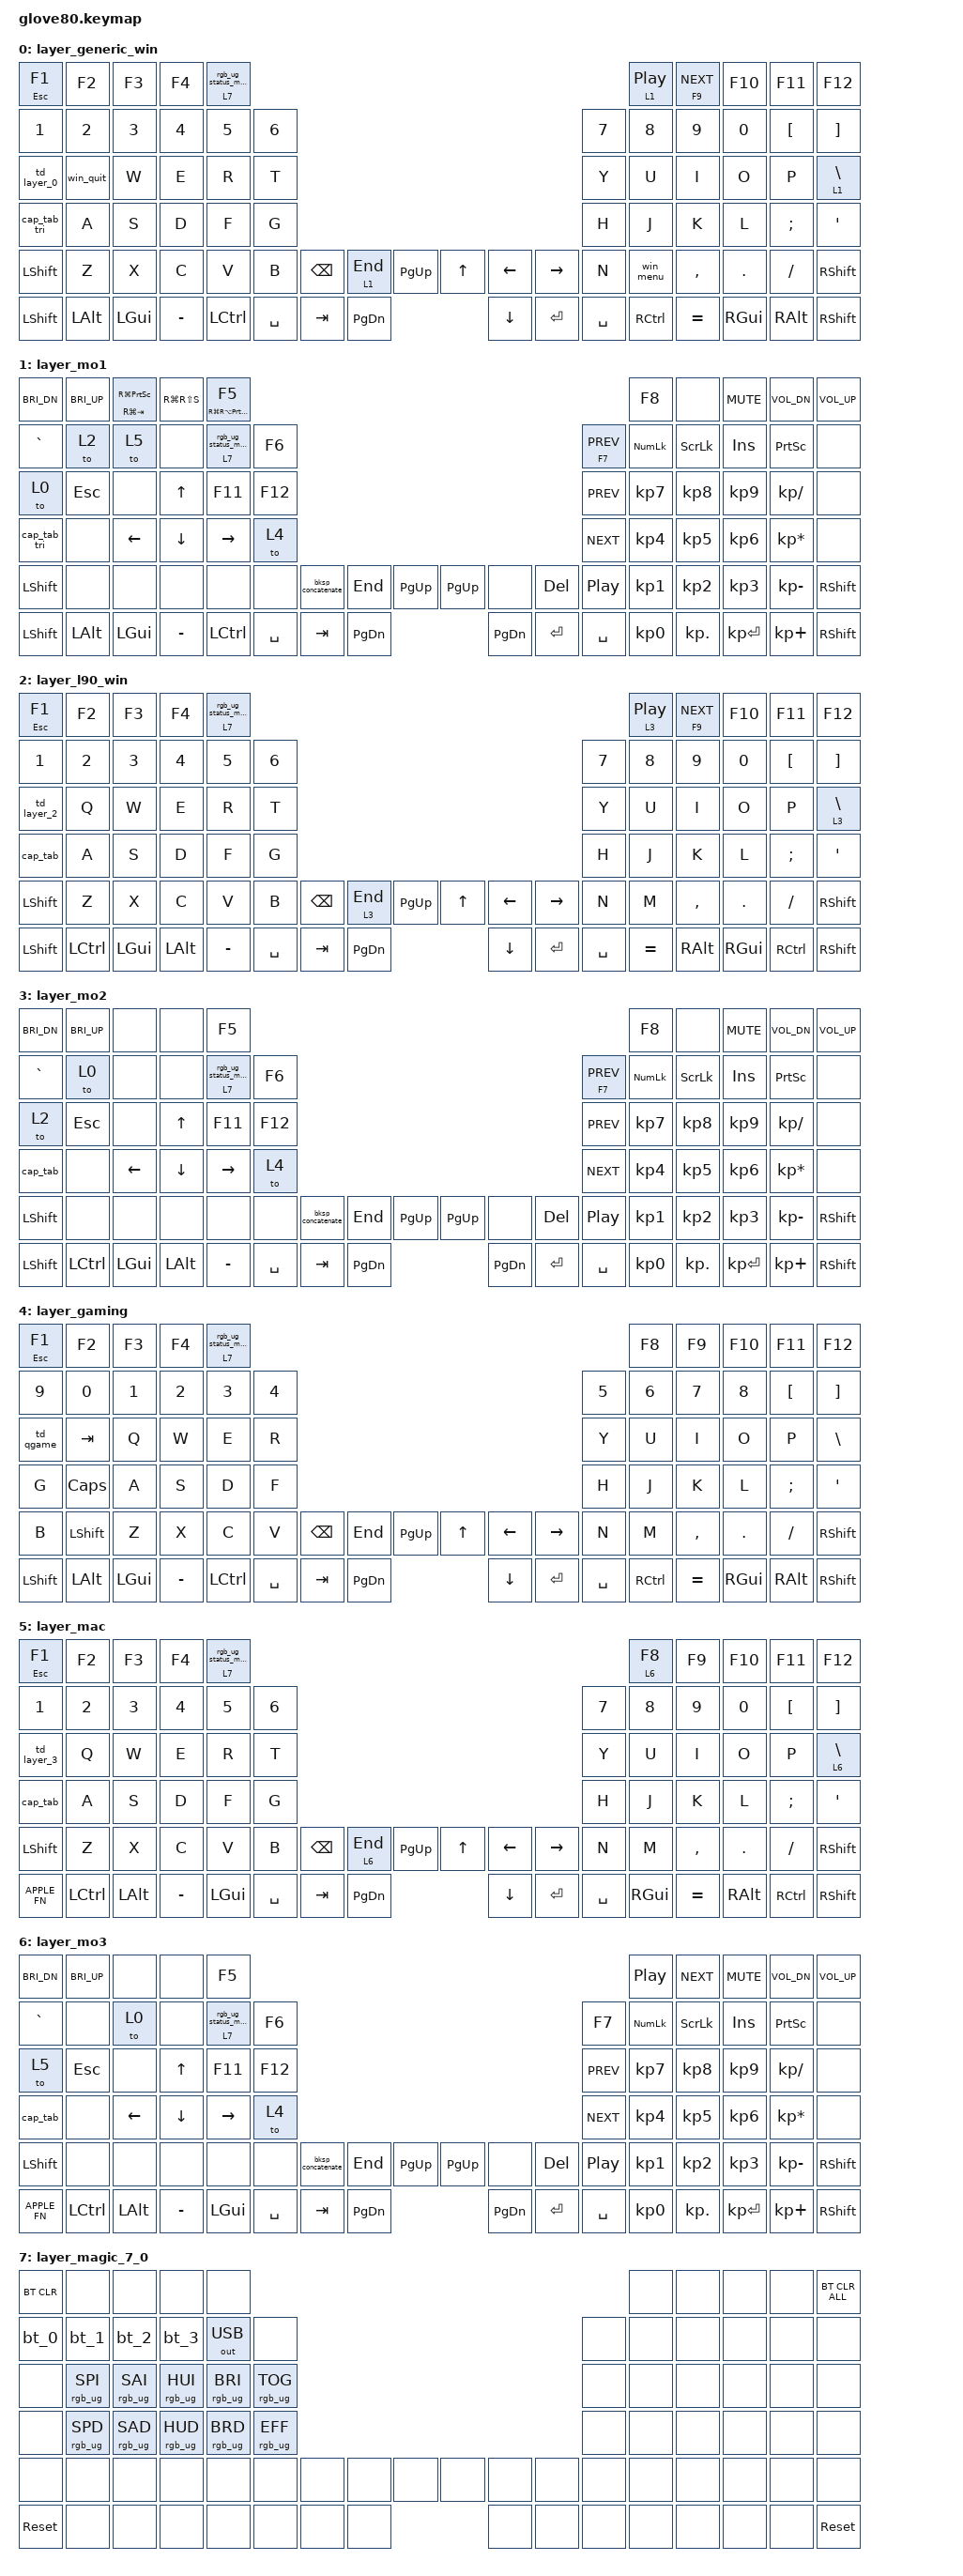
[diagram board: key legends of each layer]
/*
 * Copyright (c) 2020 The ZMK Contributors
 *
 * SPDX-License-Identifier: MIT
 */

#include <behaviors.dtsi>
#include <dt-bindings/zmk/keys.h>
#include <dt-bindings/zmk/bt.h>
#include <dt-bindings/zmk/ext_power.h>
#include <dt-bindings/zmk/outputs.h>
#include <dt-bindings/zmk/rgb.h>

#define HYPER LC(LS(LG(LALT)))

// layers
#define DEFAULT 0
#define LOWER 1
#define MAGIC 2
#define FACTORY_TEST 3

/ {
    behaviors {
        // For the "layer" key, it'd nice to be able to use it as either a shift or a toggle.
        // Configure it as a tap dance, so the first tap (or hold) is a &mo and the second tap is a &to
        layer_td: tap_dance_0 {
            compatible = "zmk,behavior-tap-dance";
            label = "LAYER_TAP_DANCE";
            #binding-cells = <0>;
            tapping-term-ms = <200>;
            bindings = <&mo 1>, <&to 1>;
        };
    };
};

/ {
    macros {
        rgb_ug_status_macro: rgb_ug_status_macro_0 {
            label = "RGB_UG_STATUS";
            compatible = "zmk,behavior-macro";
            #binding-cells = <0>;
            bindings
                = <&rgb_ug RGB_STATUS>;
        };
    };
};

/ {
#ifdef BT_DISC_CMD
    behaviors {
        bt_0: bt_0 {
            compatible = "zmk,behavior-tap-dance";
            label = "BT_0";
            #binding-cells = <0>;
            tapping-term-ms = <200>;
            bindings = <&bt_select_0>, <&bt BT_DISC 0>;
        };
        bt_1: bt_1 {
            compatible = "zmk,behavior-tap-dance";
            label = "BT_1";
            #binding-cells = <0>;
            tapping-term-ms = <200>;
            bindings = <&bt_select_1>, <&bt BT_DISC 1>;
        };
        bt_2: bt_2 {
            compatible = "zmk,behavior-tap-dance";
            label = "BT_2";
            #binding-cells = <0>;
            tapping-term-ms = <200>;
            bindings = <&bt_select_2>, <&bt BT_DISC 2>;
        };
        bt_3: bt_3 {
            compatible = "zmk,behavior-tap-dance";
            label = "BT_3";
            #binding-cells = <0>;
            tapping-term-ms = <200>;
            bindings = <&bt_select_3>, <&bt BT_DISC 3>;
        };
    };
    macros {
        bt_select_0: bt_select_0 {
            label = "BT_SELECT_0";
            compatible = "zmk,behavior-macro";
            #binding-cells = <0>;
            bindings
                = <&out OUT_BLE>,
                  <&bt BT_SEL 0>;
        };
        bt_select_1: bt_select_1 {
            label = "BT_SELECT_1";
            compatible = "zmk,behavior-macro";
            #binding-cells = <0>;
            bindings
                = <&out OUT_BLE>,
                  <&bt BT_SEL 1>;
        };
        bt_select_2: bt_select_2 {
            label = "BT_SELECT_2";
            compatible = "zmk,behavior-macro";
            #binding-cells = <0>;
            bindings
                = <&out OUT_BLE>,
                  <&bt BT_SEL 2>;
        };
        bt_select_3: bt_select_3 {
            label = "BT_SELECT_3";
            compatible = "zmk,behavior-macro";
            #binding-cells = <0>;
            bindings
                = <&out OUT_BLE>,
                  <&bt BT_SEL 3>;
        };
    };
	#else
    macros {
        bt_0: bt_0 {
            label = "BT_0";
            compatible = "zmk,behavior-macro";
            #binding-cells = <0>;
            bindings
                = <&out OUT_BLE>,
                  <&bt BT_SEL 0>;
        };
        bt_1: bt_1 {
            label = "BT_1";
            compatible = "zmk,behavior-macro";
            #binding-cells = <0>;
            bindings
                = <&out OUT_BLE>,
                  <&bt BT_SEL 1>;
        };
        bt_2: bt_2 {
            label = "BT_2";
            compatible = "zmk,behavior-macro";
            #binding-cells = <0>;
            bindings
                = <&out OUT_BLE>,
                  <&bt BT_SEL 2>;
        };
        bt_3: bt_3 {
            label = "BT_3";
            compatible = "zmk,behavior-macro";
            #binding-cells = <0>;
            bindings
                = <&out OUT_BLE>,
                  <&bt BT_SEL 3>;
        };
    };
#endif
};

/ {
    magic: magic_hold_tap {
        compatible = "zmk,behavior-hold-tap";
        label = "MAGIC_HOLD_TAP";
        #binding-cells = <2>;
        flavor = "tap-preferred";
        tapping-term-ms = <200>;
        bindings = <&mo>, <&rgb_ug_status_macro>;
    };
};

    /* Custom Defined Behaviors */
/ {
    combos {
        compatible = "zmk,combos";
        combo_shiftl {
            timeout-ms = <50>;
            key-positions = <46 64>;
            bindings = <&kp LSHIFT>;
        };
        combo_shiftr {
            timeout-ms = <50>;
            key-positions = <63 79>;
            bindings = <&kp RSHIFT>;
        };
		combo_home {
            timeout-ms = <15>;
            key-positions = <52 53>;
            bindings = <&kp HOME>;
        };
		combo_delete {
            timeout-ms = <15>;
            key-positions = <56 57>;
            bindings = <&kp DEL>;
        };
        combo_grave {
            timeout-ms = <15>;
            key-positions = <10 22>;
            bindings = <&kp RET>;
        };
    };
    
    behaviors {
    td_layer_0: tap_dance_0 {
        compatible = "zmk,behavior-tap-dance";
        label = "TAP_DANCE_TO_1";
        #binding-cells = <0>;
        tapping-term-ms = <200>;
        bindings = <&mo_tap 1 GRAVE>, <&to 1>;
    };
    td_layer_2: tap_dance_2 {
        compatible = "zmk,behavior-tap-dance";
        label = "TAP_DANCE_TO_3";
        #binding-cells = <0>;
        tapping-term-ms = <200>;
        bindings = <&mo_tap 3 GRAVE>, <&to 3>;
    };
    td_layer_3: tap_dance_a {
        compatible = "zmk,behavior-tap-dance";
        label = "TAP_DANCE_TO_6";
        #binding-cells = <0>;
        tapping-term-ms = <200>;
        bindings = <&mo_tap 6 GRAVE>, <&to 6>;
    };
    td_qgame: tap_dance_7 {
        compatible = "zmk,behavior-tap-dance";
        label = "TAP_QUIT_GAMING";
        #binding-cells = <0>;
        tapping-term-ms = <200>;
        bindings = <&kp T>, <&to 5>;
    };
	concatenate: concatenate {
		label = "CONCATENATE";
		compatible = "zmk,behavior-macro";
		#binding-cells = <0>;
		bindings
			= <&macro_tap &kp DOWN &kp HOME &kp BACKSPACE &kp SPACE>;
	};
    cap_tab: cap_tab {
        compatible = "zmk,behavior-mod-morph";
        label = "CAP_TAB";
        #binding-cells = <0>;
        bindings = <&kp CAPS>, <&kp TAB>;
        mods = <(MOD_LCTL|MOD_LGUI)>;
        keep-mods = <(MOD_LCTL|MOD_LGUI)>;
    };
         cap_tab_bi: cap_tab_bi {
                compatible = "zmk,behavior-mod-morph";
                label = "CAP_TAB_BI";
                #binding-cells = <0>;
                bindings = <&kp CAPS>, <&kp RC(TAB)>;
                mods = <(MOD_LALT|MOD_RALT)>;
        };
    cap_tab_tri: cap_tab_tri {
        compatible = "zmk,behavior-mod-morph";
        label = "CAP_TAB_TRI";
        #binding-cells = <0>;
        bindings = <&cap_tab_bi>, <&kp RA(TAB)>;
        mods = <(MOD_LCTL|MOD_RCTL)>;
    };
    win_quit: win_quit {
        compatible = "zmk,behavior-mod-morph";
        label = "WIN_QUIT";
        #binding-cells = <0>;
        bindings = <&kp Q>, <&wq_hold RA(F4) RC(Q)>;
        mods = <(MOD_LCTL)>;
    };
		wq_hold: wq_hold {
			compatible = "zmk,behavior-hold-tap";
			label = "WQ_HOLD";
			#binding-cells = <2>;
			flavor = "tap-preferred";
			tapping-term-ms = <200>;
			bindings = <&kp>, <&kp>;
		};
	win_menu: win_menu {
        compatible = "zmk,behavior-mod-morph";
        label = "WIN_MENU";
        #binding-cells = <0>;
        bindings = <&kp M>, <&wq_hold RS(F10) RC(M)>;
        mods = <(MOD_LCTL)>;
    };
    
 /*
        _win_screenshot: _win_screenshot {
            compatible = "zmk,behavior-mod-morph";
            label = "_WIN_SCREENSHOT";
            #binding-cells = <0>;
            bindings = <&kp RC(N3)>, <&kp RG(PSCRN)>;
            mods = <(MOD_LSFT|MOD_RSFT)>;
        };
    win_3_screenshot: win_3_screenshot {
        compatible = "zmk,behavior-mod-morph";
        label = "WIN_3_SCREENSHOT";
        #binding-cells = <0>;
        bindings = <&kp N3>, <&_win_screenshot>;
        mods = <(MOD_LCTL|MOD_RCTL)>;
    };
        _win_snip: _win_snip{
            compatible = "zmk,behavior-mod-morph";
            label = "_WIN_SNIP";
            #binding-cells = <0>;
            bindings = <&kp RC(N4)>, <&kp RG(RS(S))>;
            mods = <(MOD_LSFT|MOD_RSFT)>;
        };
    win_4_snip: win_4_snip{
        compatible = "zmk,behavior-mod-morph";
        label = "WIN_4_SNIP";
        #binding-cells = <0>;
        bindings = <&kp N4>, <&_win_snip>;
        mods = <(MOD_LCTL|MOD_RCTL)>;
    };
*/
    bksp_concatenate: bksp_concatenate {
        compatible = "zmk,behavior-mod-morph";
        label = "BKSP_CONCATENATE";
        #binding-cells = <0>;
        bindings = <&kp BACKSPACE>, <&concatenate>;
        mods = <(MOD_LCTL|MOD_RCTL|MOD_LGUI|MOD_RGUI)>;
    };
    mo_tap: mo_tap {
        compatible = "zmk,behavior-hold-tap";
        label = "MO_TAP";
        #binding-cells = <2>;
        flavor = "hold-preferred";
        tapping-term-ms = <175>;
        quick-tap-ms = <150>;
        global-quick-tap;
        bindings = <&mo>, <&kp>;
    };
 };

};

    /* Automatically generated keymap */
/ {
    keymap {
        compatible = "zmk,keymap";

        layer_generic_win {
            bindings = <
&mt ESC F1     &kp F2    &kp F3    &kp F4  &magic 7 0                                                                                &mo_tap 1 C_PP   &mt F9 C_NEXT  &kp F10    &kp F11      &kp F12
      &kp N1     &kp N2    &kp N3    &kp N4      &kp N5  &kp N6                                                                &kp N7           &kp N8     &kp N9    &kp N0   &kp LBKT           &kp RBKT
 &td_layer_0      &win_quit     &kp W     &kp E       &kp R   &kp T                                                                 &kp Y            &kp U      &kp I     &kp O      &kp P  &mo_tap 1 BSLH
    &cap_tab_tri      &kp A     &kp S     &kp D       &kp F   &kp G                                                                 &kp H            &kp J      &kp K     &kp L   &kp SEMI            &kp SQT
   &kp LSHFT      &kp Z     &kp X     &kp C       &kp V   &kp B   &kp BACKSPACE  &mo_tap 1 END  &kp PG_UP    &kp UP  &kp LEFT  &kp RIGHT   &kp N            &win_menu  &kp COMMA   &kp DOT   &kp FSLH          &kp RSHFT
  &kp LSHFT       &kp LALT  &kp LGUI  &kp MINUS   &kp LCTRL          &kp SPACE  &kp TAB  &kp PG_DN  &kp DOWN   &kp RET  &kp SPACE                &kp RCTRL   &kp EQUAL  &kp RGUI  &kp RALT         &kp RSHFT
            >;
        };

        layer_mo1 {
            bindings = <
 &kp C_BRI_DN     &kp C_BRI_UP  &mt RG(TAB) RG(PSCRN)  &kp RG(RS(S))    &mt RG(RA(PSCRN)) F5                                                                      &kp F8          &none       &kp C_MUTE      &kp C_VOL_DN    &kp C_VOL_UP
 &kp GRAVE      &to 2           &to 5         &none  &magic 7 0   &kp F6                                                                    &mt F7 C_PREV    &kp KP_NUM      &kp SLCK       &kp INS        &kp PSCRN      &none
     &to 0    &kp ESC         &none        &kp UP     &kp F11  &kp F12                                                                &kp C_PREV     &kp KP_N7     &kp KP_N8     &kp KP_N9     &kp KP_SLASH      &none
  &cap_tab_tri      &none      &kp LEFT      &kp DOWN   &kp RIGHT    &to 4                                                                &kp C_NEXT     &kp KP_N4     &kp KP_N5     &kp KP_N6  &kp KP_MULTIPLY      &none
 &kp LSHFT      &none         &none         &none       &none    &none   &bksp_concatenate  &kp END  &kp PG_UP  &kp PG_UP    &none    &kp DEL    &kp C_PP     &kp KP_N1     &kp KP_N2     &kp KP_N3     &kp KP_MINUS  &kp RSHFT
 &kp LSHFT      &kp LALT     &kp LGUI     &kp MINUS      &kp LCTRL           &kp SPACE  &kp TAB  &kp PG_DN  &kp PG_DN  &kp RET  &kp SPACE                 &kp KP_N0    &kp KP_DOT  &kp KP_ENTER      &kp KP_PLUS  &kp RSHFT
            >;
        };

        layer_l90_win {
            bindings = <
  &mt ESC F1     &kp F2    &kp F3    &kp F4  &magic 7 0                                                                                &mo_tap 3 C_PP   &mt F9 C_NEXT  &kp F10    &kp F11      &kp F12
      &kp N1     &kp N2    &kp N3    &kp N4      &kp N5  &kp N6                                                                &kp N7           &kp N8     &kp N9    &kp N0   &kp LBKT           &kp RBKT
 &td_layer_2      &kp Q     &kp W     &kp E       &kp R   &kp T                                                                 &kp Y            &kp U      &kp I     &kp O      &kp P  &mo_tap 3 BSLH
    &cap_tab      &kp A     &kp S     &kp D       &kp F   &kp G                                                                 &kp H            &kp J      &kp K     &kp L   &kp SEMI            &kp SQT
   &kp LSHFT      &kp Z     &kp X     &kp C       &kp V   &kp B   &kp BACKSPACE  &mo_tap 3 END  &kp PG_UP    &kp UP  &kp LEFT  &kp RIGHT   &kp N            &kp M  &kp COMMA   &kp DOT   &kp FSLH          &kp RSHFT
  &kp LSHFT  &kp LCTRL  &kp LGUI  &kp LALT   &kp MINUS          &kp SPACE  &kp TAB  &kp PG_DN  &kp DOWN   &kp RET  &kp SPACE                &kp EQUAL   &kp RALT  &kp RGUI  &kp RCTRL         &kp RSHFT
            >;
        };

        layer_mo2 {
            bindings = <
&kp C_BRI_DN     &kp C_BRI_UP  &none  &none     &kp F5                                                                                               &kp F8         &none         &kp C_MUTE      &kp C_VOL_DN   &kp C_VOL_UP
 &kp GRAVE      &to 0         &none         &none  &magic 7 0   &kp F6                                                                    &mt F7 C_PREV    &kp KP_NUM      &kp SLCK       &kp INS        &kp PSCRN      &none
     &to 2    &kp ESC         &none        &kp UP     &kp F11  &kp F12                                                                &kp C_PREV     &kp KP_N7     &kp KP_N8     &kp KP_N9     &kp KP_SLASH      &none
  &cap_tab      &none      &kp LEFT      &kp DOWN   &kp RIGHT    &to 4                                                                &kp C_NEXT     &kp KP_N4     &kp KP_N5     &kp KP_N6  &kp KP_MULTIPLY      &none
 &kp LSHFT      &none         &none         &none       &none    &none   &bksp_concatenate  &kp END  &kp PG_UP  &kp PG_UP    &none    &kp DEL    &kp C_PP     &kp KP_N1     &kp KP_N2     &kp KP_N3     &kp KP_MINUS  &kp RSHFT
 &kp LSHFT  &kp LCTRL      &kp LGUI      &kp LALT   &kp MINUS           &kp SPACE  &kp TAB  &kp PG_DN  &kp PG_DN  &kp RET  &kp SPACE                 &kp KP_N0    &kp KP_DOT  &kp KP_ENTER      &kp KP_PLUS  &kp RSHFT
            >;
        };

        layer_gaming {
            bindings = <
 &mt ESC F1     &kp F2    &kp F3    &kp F4  &magic 7 0                                                                                    &kp F8     &kp F9   &kp F10    &kp F11    &kp F12 
     &kp N9     &kp N0    &kp N1    &kp N2      &kp N3  &kp N4                                                                 &kp N5     &kp N6     &kp N7    &kp N8   &kp LBKT   &kp RBKT
  &td_qgame    &kp TAB     &kp Q     &kp W       &kp E   &kp R                                                                  &kp Y      &kp U      &kp I     &kp O      &kp P   &kp BSLH
      &kp G   &kp CAPS     &kp A     &kp S       &kp D   &kp F                                                                  &kp H      &kp J      &kp K     &kp L   &kp SEMI    &kp SQT
      &kp B  &kp LSHFT     &kp Z     &kp X       &kp C   &kp V   &kp BACKSPACE  &kp END  &kp PG_UP    &kp UP  &kp LEFT  &kp RIGHT   &kp N      &kp M  &kp COMMA   &kp DOT   &kp FSLH  &kp RSHFT
  &kp LSHFT  &kp LALT  &kp LGUI  &kp MINUS   &kp LCTRL          &kp SPACE   &kp TAB  &kp PG_DN  &kp DOWN   &kp RET  &kp SPACE          &kp RCTRL   &kp EQUAL  &kp RGUI  &kp RALT  &kp RSHFT
            >;
        };
        
        layer_mac {
            bindings = <
  &mt ESC F1     &kp F2    &kp F3     &kp F4  &magic 7 0                                                                                &mo_tap 6 F8     &kp F9   &kp F10    &kp F11            &kp F12
      &kp N1     &kp N2    &kp N3    &kp N4      &kp N5  &kp N6                                                                &kp N7           &kp N8     &kp N9    &kp N0   &kp LBKT           &kp RBKT
 &td_layer_3      &kp Q     &kp W      &kp E       &kp R   &kp T                                                                 &kp Y            &kp U      &kp I     &kp O      &kp P  &mo_tap 6 BSLH
    &cap_tab      &kp A     &kp S      &kp D       &kp F   &kp G                                                                 &kp H            &kp J      &kp K     &kp L   &kp SEMI            &kp SQT
   &kp LSHFT      &kp Z     &kp X      &kp C       &kp V   &kp B   &kp BACKSPACE  &mo_tap 6 END  &kp PG_UP    &kp UP  &kp LEFT  &kp RIGHT   &kp N            &kp M  &kp COMMA   &kp DOT   &kp FSLH          &kp RSHFT
  &kp APPLE_FN  &kp LCTRL  &kp LALT  &kp MINUS    &kp LGUI          &kp SPACE  &kp TAB  &kp PG_DN  &kp DOWN   &kp RET  &kp SPACE                 &kp RGUI  &kp EQUAL  &kp RALT  &kp RCTRL         &kp RSHFT
            >;
        };

        layer_mo3 {
            bindings = <
 &kp C_BRI_DN     &kp C_BRI_UP  &none  &none     &kp F5                                                                                     &kp C_PP  &kp C_NEXT    &kp C_MUTE  &kp C_VOL_DN    &kp C_VOL_UP
 &kp GRAVE      &none         &to 0       &none       &magic 7 0   &kp F6                                                                    &kp F7    &kp KP_NUM      &kp SLCK       &kp INS        &kp PSCRN      &none
     &to 5    &kp ESC         &none    &kp UP_ARROW          &kp F11  &kp F12                                                                &kp C_PREV     &kp KP_N7     &kp KP_N8     &kp KP_N9     &kp KP_SLASH      &none
  &cap_tab      &none  &kp LEFT_ARROW  &kp DOWN_ARROW  &kp RIGHT_ARROW    &to 4                                                                &kp C_NEXT     &kp KP_N4     &kp KP_N5     &kp KP_N6  &kp KP_MULTIPLY      &none
 &kp LSHFT      &none           &none           &none            &none    &none   &bksp_concatenate  &kp END  &kp PG_UP  &kp PG_UP    &none    &kp DEL    &kp C_PP     &kp KP_N1     &kp KP_N2     &kp KP_N3     &kp KP_MINUS  &kp RSHFT
 &kp APPLE_FN  &kp LCTRL        &kp LALT       &kp MINUS         &kp LGUI           &kp SPACE  &kp TAB  &kp PG_DN  &kp PG_DN  &kp RET  &kp SPACE                 &kp KP_N0    &kp KP_DOT  &kp KP_ENTER      &kp KP_PLUS  &kp RSHFT
            >;
        };

        layer_magic_7_0 {
            bindings = <
 &bt BT_CLR            &none            &none            &none            &none                                                                            &none   &none   &none   &none  &bt BT_CLR_ALL
      &bt_0            &bt_1            &bt_2            &bt_3     &out OUT_USB            &none                                                   &none   &none   &none   &none   &none           &none
      &none  &rgb_ug RGB_SPI  &rgb_ug RGB_SAI  &rgb_ug RGB_HUI  &rgb_ug RGB_BRI  &rgb_ug RGB_TOG                                                   &none   &none   &none   &none   &none           &none
      &none  &rgb_ug RGB_SPD  &rgb_ug RGB_SAD  &rgb_ug RGB_HUD  &rgb_ug RGB_BRD  &rgb_ug RGB_EFF                                                   &none   &none   &none   &none   &none           &none
      &none            &none            &none            &none            &none            &none   &none   &none   &none   &none   &none   &none   &none   &none   &none   &none   &none           &none
     &sys_reset            &none            &none            &none            &none                    &none   &none   &none   &none   &none   &none           &none   &none   &none   &none          &sys_reset
            >;
        };
    };
};
